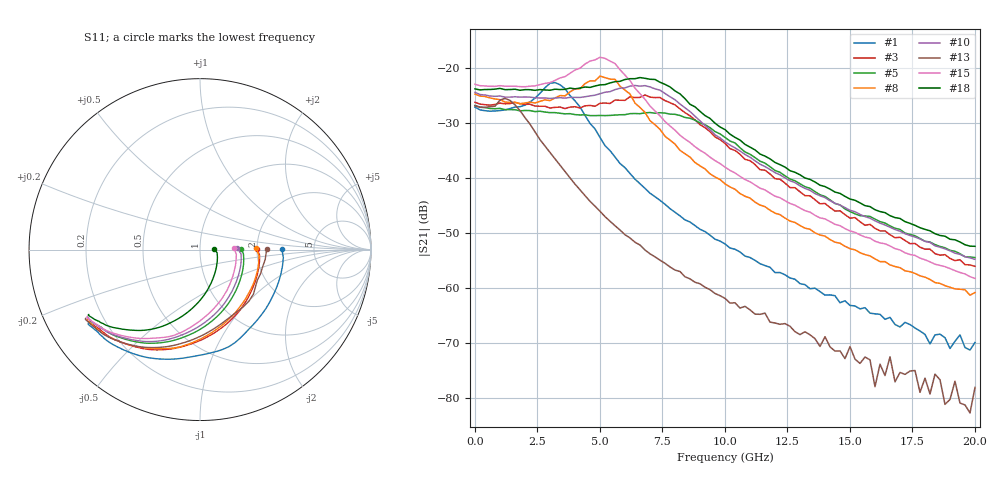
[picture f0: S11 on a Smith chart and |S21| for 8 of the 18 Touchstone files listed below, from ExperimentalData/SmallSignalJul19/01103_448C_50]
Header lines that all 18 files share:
!;Filter: kein Filter
!auto
!SP-Measurements Prober G4
!SP-Measurements Prober G4
!01103_448C
!134
!12
!50
!-20
# Hz S  RI  R 50
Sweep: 10 MHz to 20.01 GHz
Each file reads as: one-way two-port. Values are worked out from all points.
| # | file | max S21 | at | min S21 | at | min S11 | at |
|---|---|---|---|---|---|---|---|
| 1 | 01103_448C_C134R233_I_1mA_50°C.s2p | -22.68 dB | 3.21 GHz | -71.3 dB | 19.81 GHz | -6.4 dB | 10 MHz |
| 2 | 01103_448C_C134R233_I_2mA_50°C.s2p | -23.93 dB | 6.21 GHz | -59.6 dB | 20.01 GHz | -8.1 dB | 10 MHz |
| 3 | 01103_448C_C134R233_I_3mA_50°C.s2p | -24.93 dB | 6.81 GHz | -56.1 dB | 20.01 GHz | -9.6 dB | 10 MHz |
| 4 | 01103_448C_C134R233_I_4mA_50°C.s2p | -26.31 dB | 7.21 GHz | -54.7 dB | 20.01 GHz | -10.9 dB | 10 MHz |
| 5 | 01103_448C_C134R233_I_5mA_50°C.s2p | -26.85 dB | 10 MHz | -54.5 dB | 20.01 GHz | -12.3 dB | 10 MHz |
| 6 | 01103_448C_C134R233_I_6mA_50°C.s2p | -27.41 dB | 10 MHz | -55.3 dB | 20.01 GHz | -13.9 dB | 10 MHz |
| 7 | 01103_448C_C134R235_I_1mA_50°C.s2p | -21.99 dB | 2.21 GHz | -75.0 dB | 20.01 GHz | -7.4 dB | 10 MHz |
| 8 | 01103_448C_C134R235_I_2mA_50°C.s2p | -21.50 dB | 5.01 GHz | -61.3 dB | 19.81 GHz | -9.7 dB | 10 MHz |
| 9 | 01103_448C_C134R235_I_3mA_50°C.s2p | -21.64 dB | 6.21 GHz | -56.9 dB | 19.81 GHz | -11.5 dB | 10 MHz |
| 10 | 01103_448C_C134R235_I_4mA_50°C.s2p | -23.20 dB | 6.41 GHz | -54.8 dB | 20.01 GHz | -13.2 dB | 10 MHz |
| 11 | 01103_448C_C134R235_I_5mA_50°C.s2p | -24.78 dB | 10 MHz | -53.7 dB | 20.01 GHz | -15.0 dB | 10 MHz |
| 12 | 01103_448C_C134R235_I_6mA_50°C.s2p | -25.63 dB | 10 MHz | -53.5 dB | 20.01 GHz | -16.7 dB | 10 MHz |
| 13 | 01103_448C_C134R237_I_1mA_50°C.s2p | -25.55 dB | 1.21 GHz | -82.7 dB | 19.81 GHz | -8.4 dB | 410 MHz |
| 14 | 01103_448C_C134R237_I_2mA_50°C.s2p | -18.47 dB | 4.01 GHz | -63.2 dB | 20.01 GHz | -11.8 dB | 10 MHz |
| 15 | 01103_448C_C134R237_I_3mA_50°C.s2p | -18.08 dB | 5.01 GHz | -58.2 dB | 20.01 GHz | -14.0 dB | 10 MHz |
| 16 | 01103_448C_C134R237_I_4mA_50°C.s2p | -19.43 dB | 5.61 GHz | -55.0 dB | 20.01 GHz | -16.5 dB | 10 MHz |
| 17 | 01103_448C_C134R237_I_5mA_50°C.s2p | -20.87 dB | 6.41 GHz | -53.2 dB | 20.01 GHz | -19.0 dB | 10 MHz |
| 18 | 01103_448C_C134R237_I_6mA_50°C.s2p | -21.77 dB | 6.61 GHz | -52.4 dB | 20.01 GHz | -21.5 dB | 10 MHz |
